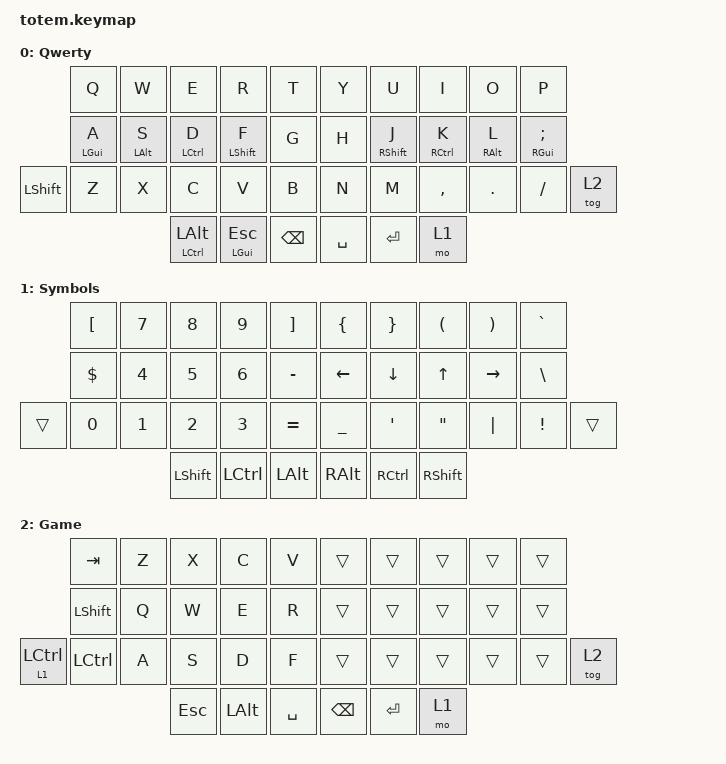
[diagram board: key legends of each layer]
//
//                                                        ▀▀▀▀▀     ▀▀▀▀▀          ▀▀█▀▀
//                                                        ▄▀▀▀▄  ▄  ▄▀▀▀▄  ▄  ▄▀▀▀▄  █  ▄▀▀▀▄
//                                                        █   █  █  █   █  █  █   █  █  █   █
//                                                         ▀▀▀   █   ▀▀▀   █   ▀▀▀   ▀   ▀▀▀
//                                                               █      ▄▄▄█▄▄▄    █   █
//                                                               ▀      █  █  █     █▄█
//                                                             ▀▀▀▀▀    █  █  █      ▀
//                                                                      ▀  ▀  ▀
//
// ▄▄▄▄▄▄▄▄▄▄▄▄▄▄▄▄▄▄▄▄▄▄▄▄▄▄▄▄▄▄▄▄▄▄▄▄▄▄▄▄▄▄▄▄▄▄▄▄▄▄▄▄▄▄▄▄▄▄▄▄▄▄▄▄▄▄▄▄▄▄▄▄▄▄▄▄▄▄▄▄▄▄▄▄▄▄▄▄▄▄▄▄▄▄▄▄▄▄▄▄▄▄▄▄▄▄▄▄▄▄▄▄▄▄▄▄▄▄▄▄▄▄▄▄▄▄▄▄▄▄▄▄▄▄▄▄▄▄▄▄▄▄▄▄▄▄▄▄▄

#include <behaviors.dtsi>
#include <dt-bindings/zmk/keys.h>

#define Base        0
#define Sym         1
#define Game        2

/* =========================
   UNIFIED HOLD-TAP SETTINGS
   ========================= */

&mt {
    tapping-term-ms = <2000>;
    quick-tap-ms = <120>;
    flavor = "tap-preferred";
    global-quick-tap;
};

&lt {
    tapping-term-ms = <2000>;
    quick-tap-ms = <120>;
    flavor = "tap-preferred";
};

/ {
    combos { compatible = "zmk,combos"; };

    behaviors {
        ge: gui_esc {
            compatible = "zmk,behavior-hold-tap";
            label = "GUI_ESC";
            #binding-cells = <2>;
            flavor = "tap-preferred";
            tapping-term-ms = <250>;
            quick-tap-ms = <150>;
            bindings =
                <&kp>,
                <&kp>;
        };

        ct: ctrl_tap {
            compatible = "zmk,behavior-hold-tap";
            label = "CTRL_TAP";
            #binding-cells = <2>;
            flavor = "tap-preferred";
            tapping-term-ms = <250>;
            quick-tap-ms = <150>;
            bindings =
                <&kp>,
                <&kp>;
        };
    };

    keymap {
        compatible = "zmk,keymap";

        /* =========================
           QWERTY LAYER
           ========================= */

        Qwerty {
            display-name = "Qwerty";
            bindings = <
                  &kp Q       &kp W       &kp E          &kp R         &kp T      &kp Y          &kp U         &kp I        &kp O       &kp P
                  &mt LGUI A  &mt LALT S  &mt LCTRL D    &mt LSHIFT F  &kp G      &kp H          &mt RSHIFT J  &mt RCTRL K  &mt RALT L  &mt RGUI SEMICOLON
&kp LEFT_SHIFT  &kp Z       &kp X       &kp C          &kp V         &kp B      &kp N          &kp M         &kp COMMA    &kp DOT     &kp SLASH   &tog 2
                                          &ct LCTRL LALT &ge LGUI ESC   &kp BACKSPACE &kp SPACE      &kp ENTER    &mo 1
            >;
        };

        /* =========================
           SYMBOL / NUMBER LAYER
           ========================= */

        Symbols {
            display-name = "Symbols";
            bindings = <
           &kp LEFT_BRACKET  &kp NUMBER_7  &kp NUMBER_8  &kp NUMBER_9  &kp RIGHT_BRACKET  &kp LEFT_BRACE  &kp RIGHT_BRACE  &kp LEFT_PARENTHESIS  &kp RIGHT_PARENTHESIS  &kp GRAVE
           &kp DOLLAR        &kp NUMBER_4  &kp NUMBER_5  &kp NUMBER_6  &kp MINUS          &kp LEFT        &kp DOWN         &kp UP                &kp RIGHT              &kp BACKSLASH
&trans    &kp NUMBER_0      &kp NUMBER_1  &kp NUMBER_2  &kp NUMBER_3  &kp EQUAL          &kp UNDER       &kp SQT          &kp DQT              &kp PIPE               &kp EXCL         &trans
                                                    &kp LSHIFT     &kp LCTRL    &kp LALT           &kp RALT        &kp RCTRL        &kp RSHIFT
            >;
        };

        /* =========================
           GAME LAYER
           ========================= */

        Game {
            display-name = "Game";
            bindings = <
                  &kp TAB         &kp Z       &kp X       &kp C       &kp V      &trans      &trans      &trans      &trans      &trans
                  &kp LEFT_SHIFT  &kp Q       &kp W       &kp E       &kp R      &trans      &trans      &trans      &trans      &trans
&lt 1 LCTRL   &kp LCTRL      &kp A       &kp S       &kp D       &kp F      &trans      &trans      &trans      &trans      &trans      &tog 2
                                             &kp ESC     &kp LALT    &kp SPACE  &kp BACKSPACE  &kp ENTER  &mo 1
            >;
        };
    };
};
